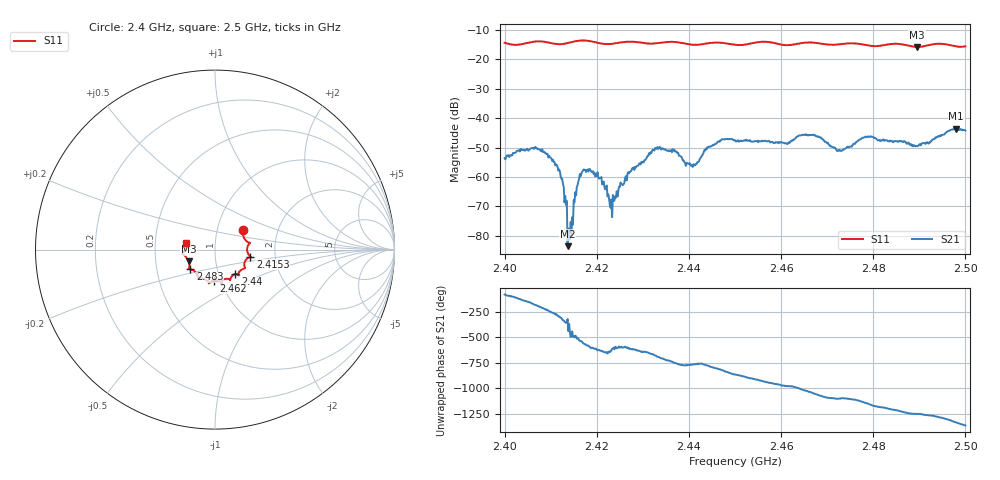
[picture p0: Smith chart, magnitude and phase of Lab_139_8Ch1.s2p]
# Hz S RI R 50
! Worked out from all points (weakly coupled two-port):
!   601 points, 2.4 GHz to 2.5 GHz, reference 50 ohm
!   highest |S21| = -43.62 dB at 2.498 GHz (marker M1); lowest = -83.5 dB at 2.4137 GHz (marker M2)
!   lowest |S11| = -15.9 dB at 2.4895 GHz (marker M3), VSWR 1.38, Z = 36.9 - j4.99 ohm
!   |S11| at or under -10 dB: start of sweep to end of sweep
!   S12 and S22 are empty: the file has one direction only
!   S11 on the Smith chart (normalised r, x): 2.4 GHz: 1.33, +0.29; 2.4153 GHz: 1.48, -0.12; 2.44 GHz: 1.20, -0.34; 2.462 GHz: 0.93, -0.33; 2.483 GHz: 0.74, -0.17; 2.5 GHz: 0.72, +0.06
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2.4e9  0.1549 0.1067  0.00033 -0.00206  0 0  0 0
2.406333e9  0.1937 0.0382  -0.003 -0.000103  0 0  0 0
2.409667e9  0.1876 0.0291  -0.000969 0.00206  0 0  0 0
2.412333e9  0.179 -0.00537  0.000619 0.000702  0 0  0 0
2.413667e9  0.1852 -0.0237  5.27e-05 4.16e-05  0 0  0 0
2.414333e9  0.1896 -0.0313  -0.000129 -0.000114  0 0  0 0
2.415333e9  0.1966 -0.0387  -0.000313 -0.000453  0 0  0 0
2.416667e9  0.202 -0.0427  -0.00115 -2.44e-05  0 0  0 0
2.4205e9  0.1797 -0.0495  -8.17e-05 0.000934  0 0  0 0
2.423333e9  0.1629 -0.0802  -5.97e-05 0.0002  0 0  0 0
2.427167e9  0.1683 -0.1027  -0.00028 0.00117  0 0  0 0
2.433333e9  0.1309 -0.1338  0.00265 0.00139  0 0  0 0
2.44e9  0.1138 -0.1366  0.00101 -0.00132  0 0  0 0
2.45e9  0.0646 -0.1624  -0.00355 -0.00227  0 0  0 0
2.462e9  -0.00499 -0.1733  -0.000566 0.00387  0 0  0 0
2.466667e9  -0.0342 -0.1876  0.00423 0.00289  0 0  0 0
2.472667e9  -0.0768 -0.1604  0.00263 -0.0012  0 0  0 0
2.483e9  -0.1377 -0.1097  -0.00208 -0.00364  0 0  0 0
2.483333e9  -0.1403 -0.1093  -0.00228 -0.00339  0 0  0 0
2.4895e9  -0.1463 -0.0658  -0.00332 -0.000183  0 0  0 0
2.498e9  -0.1638 0.00592  -0.00128 0.00646  0 0  0 0
2.5e9  -0.1596 0.0392  0.00182 0.00585  0 0  0 0
